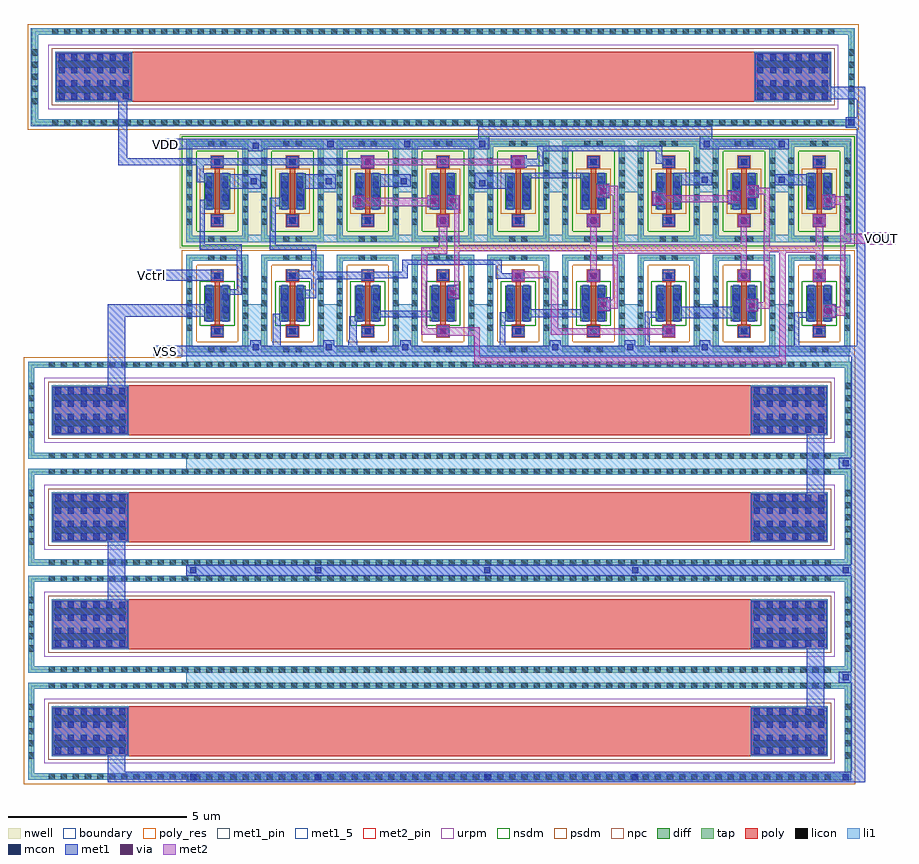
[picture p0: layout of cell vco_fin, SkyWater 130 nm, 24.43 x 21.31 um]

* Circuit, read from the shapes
.subckt vco_fin VDD VOUT VSS Vctrl
XM1 sky130_fd_pr__pfet_01v8_7HN6Y2__0_15/D Vctrl sky130_fd_pr__nfet_01v8_34VMYE__0_6/D VSS sky130_fd_pr__nfet_01v8 w=1 l=0.15
XM2 sky130_fd_pr__pfet_01v8_7HN6Y2__0_14/D sky130_fd_pr__pfet_01v8_7HN6Y2__0_14/D VSS VSS sky130_fd_pr__nfet_01v8 w=1 l=0.15
XM3 sky130_fd_pr__nfet_01v8_34VMYE__0_7/D sky130_fd_pr__pfet_01v8_7HN6Y2__0_14/D VSS VSS sky130_fd_pr__nfet_01v8 w=1 l=0.15
XM4 sky130_fd_pr__nfet_01v8_34VMYE__0_9/G sky130_fd_pr__nfet_01v8_34VMYE__0_4/G sky130_fd_pr__nfet_01v8_34VMYE__0_7/D VSS sky130_fd_pr__nfet_01v8 w=1 l=0.15
XM5 sky130_fd_pr__nfet_01v8_34VMYE__0_9/D sky130_fd_pr__pfet_01v8_7HN6Y2__0_14/D VSS VSS sky130_fd_pr__nfet_01v8 w=1 l=0.15
XM6 sky130_fd_pr__nfet_01v8_34VMYE__0_11/G sky130_fd_pr__nfet_01v8_34VMYE__0_9/G sky130_fd_pr__nfet_01v8_34VMYE__0_9/D VSS sky130_fd_pr__nfet_01v8 w=1 l=0.15
XM7 sky130_fd_pr__nfet_01v8_34VMYE__0_11/D sky130_fd_pr__pfet_01v8_7HN6Y2__0_14/D VSS VSS sky130_fd_pr__nfet_01v8 w=1 l=0.15
XM8 sky130_fd_pr__nfet_01v8_34VMYE__0_4/G sky130_fd_pr__nfet_01v8_34VMYE__0_11/G sky130_fd_pr__nfet_01v8_34VMYE__0_11/D VSS sky130_fd_pr__nfet_01v8 w=1 l=0.15
XM9 VOUT sky130_fd_pr__nfet_01v8_34VMYE__0_4/G VSS VSS sky130_fd_pr__nfet_01v8 w=1 l=0.15
XM10 VDD sky130_fd_pr__pfet_01v8_7HN6Y2__0_15/D sky130_fd_pr__pfet_01v8_7HN6Y2__0_15/D VDD sky130_fd_pr__pfet_01v8 w=1 l=0.15
XM11 VDD sky130_fd_pr__pfet_01v8_7HN6Y2__0_15/D sky130_fd_pr__pfet_01v8_7HN6Y2__0_14/D VDD sky130_fd_pr__pfet_01v8 w=1 l=0.15
XM12 VDD sky130_fd_pr__pfet_01v8_7HN6Y2__0_15/D sky130_fd_pr__pfet_01v8_7HN6Y2__0_16/D VDD sky130_fd_pr__pfet_01v8 w=1 l=0.15
XM13 sky130_fd_pr__nfet_01v8_34VMYE__0_9/G sky130_fd_pr__nfet_01v8_34VMYE__0_4/G sky130_fd_pr__pfet_01v8_7HN6Y2__0_16/D VDD sky130_fd_pr__pfet_01v8 w=1 l=0.15
XM14 sky130_fd_pr__pfet_01v8_7HN6Y2__0_19/D sky130_fd_pr__pfet_01v8_7HN6Y2__0_15/D VDD VDD sky130_fd_pr__pfet_01v8 w=1 l=0.15
XM15 sky130_fd_pr__nfet_01v8_34VMYE__0_11/G sky130_fd_pr__nfet_01v8_34VMYE__0_9/G sky130_fd_pr__pfet_01v8_7HN6Y2__0_19/D VDD sky130_fd_pr__pfet_01v8 w=1 l=0.15
XM16 VDD sky130_fd_pr__pfet_01v8_7HN6Y2__0_15/D sky130_fd_pr__pfet_01v8_7HN6Y2__0_20/D VDD sky130_fd_pr__pfet_01v8 w=1 l=0.15
XM17 sky130_fd_pr__nfet_01v8_34VMYE__0_4/G sky130_fd_pr__nfet_01v8_34VMYE__0_11/G sky130_fd_pr__pfet_01v8_7HN6Y2__0_20/D VDD sky130_fd_pr__pfet_01v8 w=1 l=0.15
XM18 VOUT sky130_fd_pr__nfet_01v8_34VMYE__0_4/G VDD VDD sky130_fd_pr__pfet_01v8 w=1 l=0.15
XR19 sky130_fd_pr__res_xhigh_po_1p41_Q5L7R2_0/R1 VSS VSS sky130_fd_pr__res_xhigh_po w=1.41 l=17.48
XR20 sky130_fd_pr__res_xhigh_po_1p41_Q5L7R2_0/R1 sky130_fd_pr__res_xhigh_po_1p41_Q5L7R2_0/R2 VSS sky130_fd_pr__res_xhigh_po w=1.41 l=17.48
XR21 sky130_fd_pr__res_xhigh_po_1p41_Q5L7R2_2/R1 sky130_fd_pr__res_xhigh_po_1p41_Q5L7R2_0/R2 VSS sky130_fd_pr__res_xhigh_po w=1.41 l=17.48
XR22 sky130_fd_pr__res_xhigh_po_1p41_Q5L7R2_2/R1 sky130_fd_pr__nfet_01v8_34VMYE__0_6/D VSS sky130_fd_pr__res_xhigh_po w=1.41 l=17.48
XR23 VSS sky130_fd_pr__pfet_01v8_7HN6Y2__0_15/D VSS sky130_fd_pr__res_xhigh_po w=1.41 l=17.48
.ends

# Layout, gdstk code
from math import pi, radians
import gdstk
lib = gdstk.Library(unit=1e-6, precision=1e-09)
def R(c, l, rs):  # rectangles x0, y0, x1, y1
    for r in rs: c.add(gdstk.rectangle(r[:2], r[2:], *l))
def A(c, l, x, y, w, h, nx, ny, dx, dy):  # array of equal rectangles
    R(c, l, [(x+i*dx, y+j*dy, x+i*dx+w, y+j*dy+h) for i in range(nx) for j in range(ny)])
nwell = (64, 20)
diff = (65, 20)
tap = (65, 44)
poly_res = (66, 13)
poly = (66, 20)
licon = (66, 44)
li1 = (67, 20)
mcon = (67, 44)
met1_5 = (68, 5)
met1_pin = (68, 16)
met1 = (68, 20)
via = (68, 44)
met2_pin = (69, 16)
met2 = (69, 20)
urpm = (79, 20)
nsdm = (93, 44)
psdm = (94, 20)
npc = (95, 20)
boundary = (235, 4)

sky130_fd_pr__res_xhigh_ = lib.new_cell('sky130_fd_pr__res_xhigh_po_1p41_Q5L7R2')
R(sky130_fd_pr__res_xhigh_, tap, [(-1.355,-11.53,1.355,-11.36), (-1.355,-11.36,-1.185,11.36), (1.185,-11.36,1.355,11.36), (-1.355,11.36,1.355,11.53)])
R(sky130_fd_pr__res_xhigh_, poly_res, [(-0.705,-8.8,0.705,8.8)])
R(sky130_fd_pr__res_xhigh_, poly, [(-0.705,-10.88,0.705,10.88)])
A(sky130_fd_pr__res_xhigh_, licon, -0.765, -11.53, 0.17, 0.17, 5, 2, 0.34, 22.89)
A(sky130_fd_pr__res_xhigh_, licon, -1.355, -10.965, 0.17, 0.17, 1, 65, 0, 0.34)
A(sky130_fd_pr__res_xhigh_, licon, 1.185, -10.965, 0.17, 0.17, 1, 65, 0, 0.34)
R(sky130_fd_pr__res_xhigh_, licon, [(-0.45,-10.8,-0.26,-8.8), (0.26,-10.8,0.45,-8.8), (-0.45,8.8,-0.26,10.8), (0.26,8.8,0.45,10.8)])
R(sky130_fd_pr__res_xhigh_, li1, [(-1.355,-11.53,1.355,-11.36), (-1.355,-11.36,-1.185,11.36), (1.185,-11.36,1.355,11.36), (-0.705,-10.88,0.705,-8.72), (-0.705,8.72,0.705,10.88), (-1.355,11.36,1.355,11.53)])
A(sky130_fd_pr__res_xhigh_, mcon, -0.625, -10.785, 0.17, 0.17, 4, 6, 0.36, 0.36)
A(sky130_fd_pr__res_xhigh_, mcon, -0.625, 8.81, 0.17, 0.17, 4, 6, 0.36, 0.36)
R(sky130_fd_pr__res_xhigh_, met1, [(-0.655,-10.85,0.655,-8.745), (-0.655,8.745,0.655,10.85)])
R(sky130_fd_pr__res_xhigh_, urpm, [(-0.905,-11.08,0.905,11.08)])
R(sky130_fd_pr__res_xhigh_, psdm, [(-1.48,-11.655,1.48,11.655)])
R(sky130_fd_pr__res_xhigh_, npc, [(-0.8,-10.975,0.8,10.975)])
R(sky130_fd_pr__res_xhigh_, boundary, [(-1.27,-11.445,1.27,11.445)])
sky130_fd_pr__res_xhigh_.add(gdstk.Label('B', (0,-11.445), layer=67, texttype=5))
sky130_fd_pr__res_xhigh_.add(gdstk.Label('R1', (0,10.705), layer=67, texttype=5))
sky130_fd_pr__res_xhigh_.add(gdstk.Label('R2', (0,-10.705), layer=67, texttype=5))

sky130_fd_pr__nfet_01v8_ = lib.new_cell('sky130_fd_pr__nfet_01v8_34VMYE__0')
R(sky130_fd_pr__nfet_01v8_, diff, [(-0.365,-0.5,0.365,0.5)])
R(sky130_fd_pr__nfet_01v8_, tap, [(-0.875,-1.37,0.875,-1.2), (-0.875,-1.2,-0.705,1.2), (0.705,-1.2,0.875,1.2), (-0.875,1.2,0.875,1.37)])
R(sky130_fd_pr__nfet_01v8_, poly, [(-0.165,-0.94,0.165,-0.61), (-0.075,-0.61,0.075,0.61), (-0.165,0.61,0.165,0.94)])
A(sky130_fd_pr__nfet_01v8_, licon, -0.875, -0.765, 0.17, 0.17, 1, 5, 0, 0.34)
A(sky130_fd_pr__nfet_01v8_, licon, 0.705, -0.765, 0.17, 0.17, 1, 5, 0, 0.34)
A(sky130_fd_pr__nfet_01v8_, licon, -0.305, -0.425, 0.17, 0.17, 1, 3, 0, 0.34)
A(sky130_fd_pr__nfet_01v8_, licon, 0.135, -0.425, 0.17, 0.17, 1, 3, 0, 0.34)
R(sky130_fd_pr__nfet_01v8_, licon, [(-0.255,-1.37,-0.085,-1.2), (0.085,-1.37,0.255,-1.2), (-0.085,-0.86,0.085,-0.69), (-0.085,0.69,0.085,0.86), (-0.255,1.2,-0.085,1.37), (0.085,1.2,0.255,1.37)])
R(sky130_fd_pr__nfet_01v8_, li1, [(-0.875,-1.37,0.875,-1.2), (-0.875,-1.2,-0.705,1.2), (0.705,-1.2,0.875,1.2), (-0.165,-0.86,0.165,-0.69), (-0.305,-0.52,-0.135,0.52), (0.135,-0.52,0.305,0.52), (-0.165,0.69,0.165,0.86), (-0.875,1.2,0.875,1.37)])
R(sky130_fd_pr__nfet_01v8_, mcon, [(-0.085,-0.86,0.085,-0.69), (-0.305,-0.265,-0.135,-0.095), (0.135,-0.265,0.305,-0.095), (-0.305,0.095,-0.135,0.265), (0.135,0.095,0.305,0.265), (-0.085,0.69,0.085,0.86)])
R(sky130_fd_pr__nfet_01v8_, met1, [(-0.145,-0.89,0.145,-0.66), (-0.335,-0.5,-0.105,0.5), (0.105,-0.5,0.335,0.5), (-0.145,0.66,0.145,0.89)])
R(sky130_fd_pr__nfet_01v8_, nsdm, [(-0.49,-0.625,0.49,0.625)])
R(sky130_fd_pr__nfet_01v8_, psdm, [(-1,-1.495,1,-1.075), (-1,-1.075,-0.58,1.075), (0.58,-1.075,1,1.075), (-1,1.075,1,1.495)])
R(sky130_fd_pr__nfet_01v8_, npc, [(-0.185,-0.96,0.185,-0.59), (-0.185,0.59,0.185,0.96)])
R(sky130_fd_pr__nfet_01v8_, boundary, [(-0.79,-1.285,0.79,1.285)])
sky130_fd_pr__nfet_01v8_.add(gdstk.Label('B', (0,-1.285), layer=67, texttype=5))
sky130_fd_pr__nfet_01v8_.add(gdstk.Label('D', (-0.22,0), layer=67, texttype=5))
sky130_fd_pr__nfet_01v8_.add(gdstk.Label('S', (0.22,0), layer=67, texttype=5))
sky130_fd_pr__nfet_01v8_.add(gdstk.Label('G', (0,0.775), layer=67, texttype=5))

sky130_fd_pr__pfet_01v8_ = lib.new_cell('sky130_fd_pr__pfet_01v8_7HN6Y2__0')
R(sky130_fd_pr__pfet_01v8_, nwell, [(-1.055,-1.595,1.055,1.595)])
R(sky130_fd_pr__pfet_01v8_, diff, [(-0.365,-0.5,0.365,0.5)])
R(sky130_fd_pr__pfet_01v8_, tap, [(-0.875,-1.415,0.875,-1.245), (-0.875,-1.245,-0.705,1.245), (0.705,-1.245,0.875,1.245), (-0.875,1.245,0.875,1.415)])
R(sky130_fd_pr__pfet_01v8_, poly, [(-0.165,-0.985,0.165,-0.655), (-0.075,-0.655,0.075,0.655), (-0.165,0.655,0.165,0.985)])
A(sky130_fd_pr__pfet_01v8_, licon, -0.875, -0.935, 0.17, 0.17, 1, 6, 0, 0.34)
A(sky130_fd_pr__pfet_01v8_, licon, 0.705, -0.935, 0.17, 0.17, 1, 6, 0, 0.34)
A(sky130_fd_pr__pfet_01v8_, licon, -0.305, -0.425, 0.17, 0.17, 1, 3, 0, 0.34)
A(sky130_fd_pr__pfet_01v8_, licon, 0.135, -0.425, 0.17, 0.17, 1, 3, 0, 0.34)
R(sky130_fd_pr__pfet_01v8_, licon, [(-0.255,-1.415,-0.085,-1.245), (0.085,-1.415,0.255,-1.245), (-0.085,-0.905,0.085,-0.735), (-0.085,0.735,0.085,0.905), (-0.255,1.245,-0.085,1.415), (0.085,1.245,0.255,1.415)])
R(sky130_fd_pr__pfet_01v8_, li1, [(-0.875,-1.415,0.875,-1.245), (-0.875,-1.245,-0.705,1.245), (0.705,-1.245,0.875,1.245), (-0.165,-0.905,0.165,-0.735), (-0.305,-0.52,-0.135,0.52), (0.135,-0.52,0.305,0.52), (-0.165,0.735,0.165,0.905), (-0.875,1.245,0.875,1.415)])
R(sky130_fd_pr__pfet_01v8_, mcon, [(-0.085,-0.905,0.085,-0.735), (-0.305,-0.265,-0.135,-0.095), (0.135,-0.265,0.305,-0.095), (-0.305,0.095,-0.135,0.265), (0.135,0.095,0.305,0.265), (-0.085,0.735,0.085,0.905)])
R(sky130_fd_pr__pfet_01v8_, met1, [(-0.145,-0.935,0.145,-0.705), (-0.335,-0.5,-0.105,0.5), (0.105,-0.5,0.335,0.5), (-0.145,0.705,0.145,0.935)])
R(sky130_fd_pr__pfet_01v8_, nsdm, [(-1,-1.54,1,-1.12), (-1,-1.12,-0.58,1.12), (0.58,-1.12,1,1.12), (-1,1.12,1,1.54)])
R(sky130_fd_pr__pfet_01v8_, psdm, [(-0.49,-0.625,0.49,0.625)])
R(sky130_fd_pr__pfet_01v8_, npc, [(-0.185,-1.005,0.185,-0.635), (-0.185,0.635,0.185,1.005)])
R(sky130_fd_pr__pfet_01v8_, boundary, [(-0.79,-1.33,0.79,1.33)])
sky130_fd_pr__pfet_01v8_.add(gdstk.Label('B', (0,-1.33), layer=67, texttype=5))
sky130_fd_pr__pfet_01v8_.add(gdstk.Label('D', (-0.22,0), layer=67, texttype=5))
sky130_fd_pr__pfet_01v8_.add(gdstk.Label('S', (0.22,0), layer=67, texttype=5))
sky130_fd_pr__pfet_01v8_.add(gdstk.Label('G', (0,0.82), layer=67, texttype=5))

vco_fin = lib.new_cell('vco_fin')
A(vco_fin, li1, 4.8, -14.95, 18.65, 0.35, 1, 3, 0, 3)
A(vco_fin, li1, 23.4, -14.6, 0.05, 2.65, 1, 3, 0, 3)
A(vco_fin, li1, 6.5, -5.6, 0.45, 1.3, 3, 1, 2.1, 0)
A(vco_fin, li1, 12.85, -5.6, 0.45, 1.3, 5, 1, 2.1, 0)
A(vco_fin, li1, 6.5, -2.5, 0.45, 0.15, 3, 1, 2.1, 0)
A(vco_fin, li1, 12.85, -2.5, 0.45, 0.15, 4, 1, 2.1, 0)
A(vco_fin, li1, 6.5, -1.15, 0.45, 1.4, 3, 1, 2.1, 0)
A(vco_fin, li1, 12.85, -1.15, 0.45, 1.4, 4, 1, 2.1, 0)
R(vco_fin, li1, [(4.8,-17.65,23.45,-17.6), (4.9,-17.6,5.1,-17.45), (8.4,-17.6,8.6,-17.45), (13.15,-17.6,13.35,-17.45), (17.3,-17.6,17.5,-17.45), (23.2,-17.6,23.45,-17.45), (23.4,-17.45,23.45,-14.95), (4.8,-5.95,23.45,-5.9), (4.8,-5.9,23.4,-5.6), (4.8,-5.6,4.85,-2.9), (4.8,-2.55,23.45,-2.5), (21.3,-2.5,21.75,-2.35), (23.4,-2.5,23.45,0.25), (21.3,-1.15,21.75,0.25), (16.15,0.12,16.31,0.25), (4.8,0.25,23.45,0.35), (0.45,0.7,23.55,0.75), (0.45,0.75,0.5,3.4), (23.3,0.75,23.35,0.8), (23.37,0.75,23.55,0.9), (23.5,0.9,23.55,0.92), (23.45,0.92,23.55,1.5), (23.5,1.5,23.55,1.75), (23.45,1.75,23.55,2.7), (23.5,2.7,23.55,3.4), (0.45,3.4,23.55,3.45)])
A(vco_fin, mcon, 23.215, -14.835, 0.17, 0.17, 1, 3, 0, 3)
A(vco_fin, mcon, 15.065, -5.585, 0.17, 0.17, 3, 1, 2.1, 0)
A(vco_fin, mcon, 6.615, -0.935, 0.17, 0.17, 3, 1, 2.1, 0)
R(vco_fin, mcon, [(4.915,-17.635,5.085,-17.465), (8.415,-17.635,8.585,-17.465), (13.165,-17.635,13.335,-17.465), (17.315,-17.635,17.485,-17.465), (23.215,-17.635,23.385,-17.465), (4.915,-11.835,5.085,-11.665), (8.415,-11.835,8.585,-11.665), (13.165,-11.835,13.335,-11.665), (17.315,-11.835,17.485,-11.665), (6.665,-5.585,6.835,-5.415), (8.715,-5.585,8.885,-5.415), (10.865,-5.585,11.035,-5.415), (13.015,-0.985,13.185,-0.815), (19.265,-0.885,19.435,-0.715), (21.415,-0.885,21.585,-0.715), (6.665,0.065,6.835,0.235), (8.765,0.115,8.935,0.285), (10.915,0.115,11.085,0.285), (13.015,0.115,13.185,0.285), (19.315,0.115,19.485,0.285), (21.415,0.115,21.585,0.285), (23.37,0.73,23.54,0.9)])
R(vco_fin, met1_5, [(4.1,-5.7,4.35,-5.55), (4.1,0.1,4.35,0.25)])
R(vco_fin, met1_pin, [(3.69,-3.63,3.97,-3.32)])
A(vco_fin, met1, 15, -5.45, 0.3, 0.15, 3, 1, 2.1, 0)
A(vco_fin, met1, 5.51, -2.11, 0.33, 0.32, 7, 1, 2.11, 0)
A(vco_fin, met1, 11.84, -0.46, 0.33, 0.32, 3, 1, 4.22, 0)
R(vco_fin, met1, [(2.6,-17.7,23.85,-17.4), (2.6,-17.4,3.1,-16.85), (23.45,-17.4,23.85,-14.9), (22.2,-15.75,22.45,-15.7), (22.2,-15.7,22.7,-13.3), (23.1,-14.9,23.85,-14.6), (23.45,-14.6,23.85,-11.9), (22.45,-13.3,22.7,-13.25), (2.6,-13.15,3.1,-10.7), (4.8,-11.9,23.85,-11.6), (23.45,-11.6,23.85,-8.9), (22.2,-9.85,22.7,-7.4), (23.1,-8.9,23.85,-8.6), (23.45,-8.6,23.85,-5.75), (2.6,-6.7,3.1,-4.65), (3.9,-5.75,23.85,-5.45), (6.6,-5.45,6.9,-5.3), (7.23,-5.45,7.46,-4.7), (8.65,-5.45,8.95,-5.3), (9.35,-5.45,9.6,-5.3), (10.8,-5.45,11.1,-5.3), (13.59,-5.45,13.75,-4.77), (17.66,-5.45,17.8,-4.67), (21.86,-5.45,22,-4.67), (23.6,-5.45,23.85,0.65), (9.38,-5.3,9.59,-4.77), (18.16,-5.22,18.52,-4.91), (20.28,-5.22,20.61,-4.92), (5.51,-5.21,5.85,-4.91), (7.62,-5.21,7.95,-4.91), (9.73,-5.21,10.06,-4.91), (11.84,-5.21,12.18,-4.91), (13.95,-5.21,14.28,-4.91), (16.06,-5.21,16.39,-4.91), (22.39,-5.21,22.72,-4.91), (5.32,-4.77,5.46,-4.74), (9.38,-4.77,9.62,-4.63), (11.7,-4.77,11.83,-4.66), (13.59,-4.77,13.96,-4.52), (15.95,-4.77,15.97,-4.7), (5.32,-4.74,5.55,-4.65), (7.23,-4.7,7.62,-4.56), (15.95,-4.7,15.98,-4.66), (18.48,-4.69,20.29,-4.64), (17.66,-4.67,18.14,-4.51), (21.86,-4.67,22.34,-4.52), (22.66,-4.67,23.02,-4.29), (10.04,-4.66,11.87,-4.47), (14.31,-4.66,16.06,-4.44), (2.6,-4.65,5.55,-4.5), (18.48,-4.64,20.3,-4.49), (2.6,-4.5,5.4,-4.33), (16.34,-4.49,16.7,-4.09), (18.48,-4.49,20.29,-4.36), (20.5,-4.49,20.85,-4.14), (11.7,-4.47,11.83,-4.43), (2.6,-4.33,5.35,-4.3), (12.11,-4.15,12.46,-3.78), (8,-4.13,8.45,-3.89), (20.58,-4.13,20.61,-3.92), (5.9,-4.02,6.36,-3.87), (8.31,-3.89,8.45,-3.59), (6.22,-3.87,6.36,-2.76), (12.32,-3.78,12.46,-3.75), (3.69,-3.63,5.84,-3.32), (7.62,-3.63,7.95,-3.58), (9.73,-3.63,10.06,-3.59), (11.84,-3.63,12.17,-3.33), (13.95,-3.63,14.29,-3.58), (16.06,-3.63,16.4,-3.32), (18.17,-3.63,18.5,-3.33), (20.27,-3.63,20.62,-3.33), (22.39,-3.63,22.74,-3.32), (8.31,-3.59,10.06,-3.58), (7.62,-3.58,10.06,-3.56), (13.49,-3.58,14.29,-3.42), (7.62,-3.56,11.02,-3.38), (13.49,-3.42,13.65,-3.19), (13.95,-3.42,14.29,-3.32), (7.62,-3.38,8.45,-3.36), (9.73,-3.38,10.06,-3.33), (10.86,-3.38,11.02,-3.19), (7.62,-3.36,7.95,-3.33), (8.31,-3.36,8.45,-2.76), (10.86,-3.19,13.65,-3.04), (5.18,-2.76,6.36,-2.61), (7.14,-2.76,8.45,-2.62), (7.14,-2.62,7.31,-1.55), (5.18,-2.61,5.32,-1.63), (20.28,-2.11,20.62,-1.78), (22.39,-2.11,22.73,-1.79), (5.18,-1.63,5.57,-1.36), (12.12,-1.63,12.47,-1.23), (22.65,-1.59,23.01,-1.21), (9.47,-1.58,9.8,-1.25), (11.57,-1.57,11.9,-1.24), (13.94,-1.57,13.99,-1.43), (7.14,-1.55,7.58,-1.31), (14.26,-1.54,14.3,-1.32), (16.02,-1.54,16.1,-1.32), (17.87,-1.53,18.23,-1.13), (20.59,-1.53,20.61,-1.31), (19.99,-1.49,20.35,-1.09), (16.31,-1.32,16.67,-0.92), (20.51,-1.31,20.86,-0.96), (5.95,-1.05,6.9,-0.65), (8.05,-1.05,9,-0.65), (12.9,-1.05,13.85,-0.68), (10.15,-1,11.1,-0.65), (18.6,-0.95,19.55,-0.91), (21.3,-0.95,22.3,-0.86), (7.9,-0.94,7.94,-0.68), (5.85,-0.92,5.88,-0.66), (18.54,-0.91,19.55,-0.72), (20.12,-0.89,20.2,-0.75), (5.1,-0.87,5.56,-0.63), (21.3,-0.86,22.36,-0.72), (14.32,-0.76,16.09,-0.65), (18.6,-0.72,19.55,-0.66), (21.3,-0.72,22.3,-0.65), (12.9,-0.68,13.86,-0.62), (18.58,-0.66,19.55,-0.61), (14.3,-0.65,16.1,-0.6), (5.1,-0.63,5.57,-0.62), (5.1,-0.62,5.3,-0.4), (12.9,-0.62,13.85,-0.6), (18.6,-0.61,19.55,-0.6), (9.72,-0.48,10.08,-0.47), (9.7,-0.47,10.08,-0.4), (5.51,-0.46,5.84,-0.45), (7.62,-0.46,7.95,-0.4), (13.91,-0.46,14.36,-0.42), (18.17,-0.46,18.5,-0.35), (22.39,-0.46,22.72,-0.14), (5.5,-0.45,5.85,-0.4), (13.91,-0.42,14.81,-0.22), (2.9,-0.4,10.08,-0.2), (17.97,-0.35,18.5,-0.14), (13.91,-0.22,14.36,-0.11), (14.65,-0.22,14.81,0), (2.9,-0.2,3.15,1.5), (5.5,-0.2,5.85,-0.15), (7.62,-0.2,7.95,-0.14), (9.7,-0.2,10.08,-0.12), (5.51,-0.15,5.84,-0.14), (17.97,-0.14,18.15,0), (6.55,0,6.95,0.05), (14.65,0,18.15,0.15), (4.05,0.05,13.3,0.35), (19.2,0.05,21.7,0.35), (13,0.35,13.3,0.4), (19.2,0.35,19.55,0.4), (13,0.4,19.55,0.7), (23.3,0.65,23.85,0.95), (23.6,0.95,23.85,1.45), (22.75,1.45,23.85,1.55), (22.35,1.55,23.85,1.72), (22.75,1.72,23.85,1.8)])
R(vco_fin, via, [(11.925,-5.115,12.075,-4.965), (18.265,-5.115,18.415,-4.965), (22.755,-4.555,22.905,-4.405), (20.595,-4.395,20.745,-4.245), (16.425,-4.37,16.575,-4.22), (12.205,-4.045,12.355,-3.895), (16.155,-3.565,16.305,-3.415), (14.045,-3.555,14.195,-3.405), (20.365,-3.555,20.515,-3.405), (22.495,-3.555,22.645,-3.405), (20.37,-2.025,20.52,-1.875), (22.485,-2.025,22.635,-1.875), (11.935,-2.015,12.085,-1.865), (16.155,-2.015,16.305,-1.865), (9.555,-1.485,9.705,-1.335), (11.655,-1.475,11.805,-1.325), (12.205,-1.465,12.355,-1.315), (22.745,-1.465,22.895,-1.315), (17.975,-1.415,18.125,-1.265), (20.085,-1.375,20.235,-1.225), (20.595,-1.215,20.745,-1.065), (16.415,-1.19,16.565,-1.04), (14.045,-0.365,14.195,-0.215), (9.835,-0.355,9.985,-0.205)])
R(vco_fin, met2_pin, [(23.9,-2.62,24.68,-2.28)])
R(vco_fin, met2, [(12.88,-5.97,21.61,-5.78), (12.88,-5.78,13.04,-5.17), (21.43,-5.78,21.61,-2.85), (18.16,-5.22,18.52,-5.15), (11.84,-5.21,12.17,-5.17), (11.84,-5.17,13.04,-5.15), (11.41,-5.15,13.04,-5.14), (15.03,-5.15,18.52,-4.96), (11.4,-5.14,13.04,-4.96), (11.4,-4.96,11.56,-2.89), (11.84,-4.96,13.04,-4.95), (15.03,-4.96,15.23,-3.57), (18.16,-4.96,18.52,-4.87), (11.84,-4.95,13.03,-4.94), (11.84,-4.94,12.17,-4.88), (22.66,-4.66,23.01,-4.61), (22.66,-4.61,23.28,-4.36), (20.5,-4.49,20.84,-4.42), (16.34,-4.47,16.68,-4.42), (16.34,-4.42,16.91,-4.16), (20.5,-4.42,21.17,-4.23), (22.66,-4.36,23,-4.31), (23.14,-4.36,23.28,-2.59), (20.5,-4.23,20.84,-4.15), (21,-4.23,21.17,-2.84), (16.34,-4.16,16.62,-4.12), (16.76,-4.16,16.91,-2.88), (12.15,-4.13,12.46,-3.81), (12.32,-3.81,12.46,-2.81), (16.06,-3.66,16.39,-3.32), (22.39,-3.66,22.74,-3.32), (13.95,-3.65,14.29,-3.57), (20.27,-3.63,20.61,-3.33), (13.95,-3.57,15.23,-3.37), (13.95,-3.37,14.29,-3.32), (20.36,-3.33,20.52,-2.88), (16.14,-3.32,16.31,-2.81), (22.45,-3.32,22.67,-2.85), (11.4,-2.89,12.12,-2.7), (16.76,-2.88,20.52,-2.61), (21.43,-2.85,22.67,-2.84), (21,-2.84,22.67,-2.65), (12.32,-2.81,16.31,-2.63), (11.88,-2.7,12.12,-2.12), (21,-2.65,21.17,-1.21), (22.45,-2.65,22.67,-2.11), (12.32,-2.63,12.46,-1.63), (16.14,-2.63,16.31,-2.12), (23.9,-2.62,24.68,-2.59), (16.76,-2.61,16.91,-1.24), (20.36,-2.61,20.52,-2.11), (23.14,-2.59,24.68,-2.32), (23.14,-2.32,23.28,-1.51), (23.9,-2.32,24.68,-2.28), (11.84,-2.12,12.18,-1.78), (16.05,-2.12,16.39,-1.77), (20.28,-2.11,20.61,-1.78), (22.39,-2.11,22.73,-1.77), (12.27,-1.63,12.46,-1.55), (9.47,-1.57,9.79,-1.54), (22.65,-1.57,23,-1.51), (11.57,-1.56,11.89,-1.54), (12.12,-1.55,12.46,-1.23), (9.47,-1.54,11.89,-1.31), (17.88,-1.51,18.23,-1.44), (22.65,-1.51,23.28,-1.26), (19.99,-1.46,20.34,-1.44), (17.88,-1.44,20.34,-1.24), (9.47,-1.31,9.79,-1.25), (11.57,-1.31,11.89,-1.24), (20.51,-1.3,20.85,-1.21), (16.32,-1.29,16.62,-1.24), (22.65,-1.26,23,-1.22), (16.32,-1.24,16.91,-0.97), (17.88,-1.24,18.23,-1.17), (19.99,-1.24,20.34,-1.12), (20.51,-1.21,21.17,-1.02), (20.51,-1.02,20.85,-0.96), (16.32,-0.97,16.66,-0.94), (9.73,-0.47,10.07,-0.39), (13.95,-0.46,14.29,-0.39), (9.73,-0.39,14.29,-0.22), (9.73,-0.22,10.07,-0.13), (13.95,-0.22,14.29,-0.12)])
A(vco_fin, nsdm, 6.675, -2.665, 0.11, 3.08, 8, 1, 2.11, 0)
A(vco_fin, psdm, 0.255, -14.785, 23.31, 0.04, 1, 3, 0, 3)
A(vco_fin, psdm, 6.675, -5.765, 0.11, 2.99, 8, 1, 2.11, 0)
R(vco_fin, psdm, [(4.675,-5.785,23.555,-5.765)])
vco_fin.add(gdstk.Reference(sky130_fd_pr__res_xhigh_, (11.91,-13.265), rotation=3*pi/2))
vco_fin.add(gdstk.Reference(sky130_fd_pr__res_xhigh_, (11.91,-16.265), rotation=3*pi/2))
vco_fin.add(gdstk.Reference(sky130_fd_pr__res_xhigh_, (11.91,-10.265), rotation=3*pi/2))
vco_fin.add(gdstk.Reference(sky130_fd_pr__res_xhigh_, (11.91,-7.265), rotation=3*pi/2))
vco_fin.add(gdstk.Reference(sky130_fd_pr__nfet_01v8_, (22.555,-4.27)))
vco_fin.add(gdstk.Reference(sky130_fd_pr__nfet_01v8_, (7.785,-4.27)))
vco_fin.add(gdstk.Reference(sky130_fd_pr__nfet_01v8_, (5.675,-4.27)))
vco_fin.add(gdstk.Reference(sky130_fd_pr__nfet_01v8_, (12.005,-4.27)))
vco_fin.add(gdstk.Reference(sky130_fd_pr__nfet_01v8_, (9.895,-4.27)))
vco_fin.add(gdstk.Reference(sky130_fd_pr__nfet_01v8_, (16.225,-4.27)))
vco_fin.add(gdstk.Reference(sky130_fd_pr__nfet_01v8_, (14.115,-4.27)))
vco_fin.add(gdstk.Reference(sky130_fd_pr__nfet_01v8_, (20.445,-4.27)))
vco_fin.add(gdstk.Reference(sky130_fd_pr__nfet_01v8_, (18.335,-4.27)))
vco_fin.add(gdstk.Reference(sky130_fd_pr__pfet_01v8_, (22.555,-1.125)))
vco_fin.add(gdstk.Reference(sky130_fd_pr__pfet_01v8_, (7.785,-1.125)))
vco_fin.add(gdstk.Reference(sky130_fd_pr__pfet_01v8_, (5.675,-1.125)))
vco_fin.add(gdstk.Reference(sky130_fd_pr__pfet_01v8_, (9.895,-1.125)))
vco_fin.add(gdstk.Reference(sky130_fd_pr__pfet_01v8_, (12.005,-1.125)))
vco_fin.add(gdstk.Reference(sky130_fd_pr__pfet_01v8_, (14.115,-1.125)))
vco_fin.add(gdstk.Reference(sky130_fd_pr__pfet_01v8_, (16.225,-1.125)))
vco_fin.add(gdstk.Reference(sky130_fd_pr__pfet_01v8_, (18.335,-1.125)))
vco_fin.add(gdstk.Reference(sky130_fd_pr__pfet_01v8_, (20.445,-1.125)))
vco_fin.add(gdstk.Reference(sky130_fd_pr__res_xhigh_, (12.01,2.085), rotation=3*pi/2))
vco_fin.add(gdstk.Label('VSS', (4.225,-5.625), layer=68, texttype=5))
vco_fin.add(gdstk.Label('VDD', (4.225,0.175), layer=68, texttype=5))
vco_fin.add(gdstk.Label('VOUT', (24.29,-2.45), layer=69, texttype=5))
vco_fin.add(gdstk.Label('Vctrl', (3.83,-3.475), layer=68, texttype=5))

lib.write_gds('vco_fin.gds')
